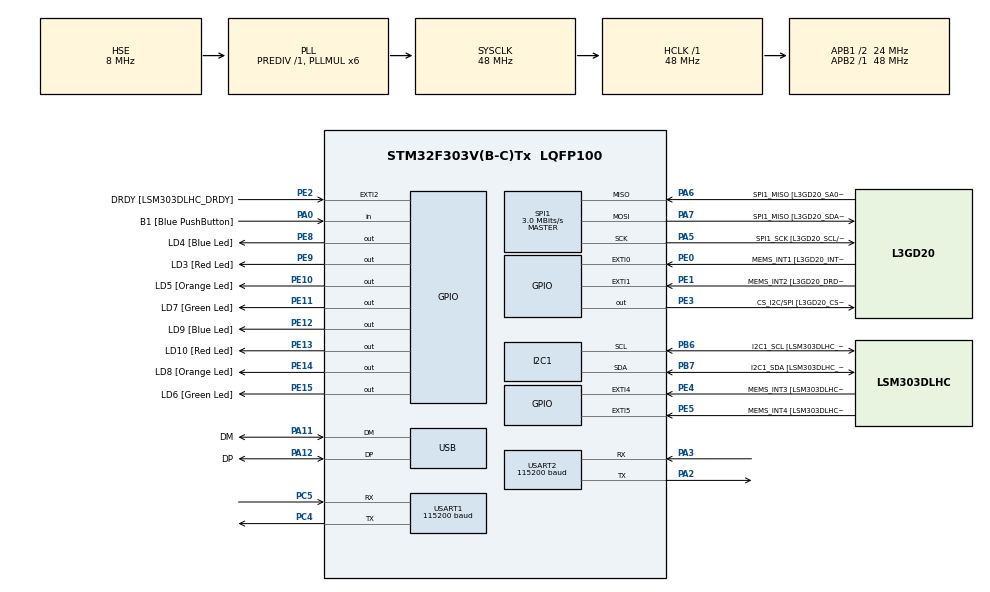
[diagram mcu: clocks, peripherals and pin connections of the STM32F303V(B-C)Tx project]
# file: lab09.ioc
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I2C1.Timing=0x00201D2B
I2C1.Timing-I2C=0x2000090E
Mcu.Family=STM32F3
Mcu.Name=STM32F303V(B-C)Tx
Mcu.Package=LQFP100
NVIC.PriorityGroup=NVIC_PRIORITYGROUP_0
PA0.GPIO_Label=B1 [Blue PushButton]
PA0.Signal=GPIO_Input
PA11.GPIO_Label=DM
PA11.Mode=Device
PA11.Signal=USB_DM
PA12.GPIO_Label=DP
PA12.Mode=Device
PA12.Signal=USB_DP
PA13.GPIO_Label=SWDIO
PA13.Mode=Serial_Wire
PA13.Signal=SYS_JTMS-SWDIO
PA14.GPIO_Label=SWCLK
PA14.Mode=Serial_Wire
PA14.Signal=SYS_JTCK-SWCLK
PA2.Mode=Asynchronous
PA2.Signal=USART2_TX
PA3.Mode=Asynchronous
PA3.Signal=USART2_RX
PA5.GPIO_Label=SPI1_SCK [L3GD20_SCL/SPC]
PA5.Mode=Full_Duplex_Master
PA5.Signal=SPI1_SCK
PA6.GPIO_Label=SPI1_MISO [L3GD20_SA0/SDO]
PA6.Mode=Full_Duplex_Master
PA6.Signal=SPI1_MISO
PA7.GPIO_Label=SPI1_MISO [L3GD20_SDA/SDI/SDO]
PA7.Mode=Full_Duplex_Master
PA7.Signal=SPI1_MOSI
PB3.GPIO_Label=SWO
PB3.Signal=SYS_JTDO-TRACESWO
PB6.GPIO_Label=I2C1_SCL [LSM303DLHC_SCL]
PB6.GPIO_Pu=GPIO_PULLUP
PB6.Mode=I2C
PB6.Signal=I2C1_SCL
PB7.GPIO_Label=I2C1_SDA [LSM303DLHC_SDA]
PB7.GPIO_Pu=GPIO_PULLUP
PB7.Mode=I2C
PB7.Signal=I2C1_SDA
PC14-OSC32_IN.GPIO_Label=OSC32_IN
PC14-OSC32_IN.Signal=RCC_OSC32_IN
PC15-OSC32_OUT.GPIO_Label=OSC32_OUT
PC15-OSC32_OUT.Signal=RCC_OSC32_OUT
PC4.Mode=Asynchronous
PC4.Signal=USART1_TX
PC5.Mode=Asynchronous
PC5.Signal=USART1_RX
PE0.GPIO_Label=MEMS_INT1 [L3GD20_INT1]
PE0.GPIO_ModeDefaultEXTI=GPIO_MODE_EVT_RISING
PE0.Signal=GPXTI0
PE1.GPIO_Label=MEMS_INT2 [L3GD20_DRDY/INT2]
PE1.GPIO_ModeDefaultEXTI=GPIO_MODE_EVT_RISING
PE1.Signal=GPXTI1
PE10.GPIO_Label=LD5 [Orange Led]
PE10.Signal=GPIO_Output
PE11.GPIO_Label=LD7 [Green Led]
PE11.Signal=GPIO_Output
PE12.GPIO_Label=LD9 [Blue Led]
PE12.Signal=GPIO_Output
PE13.GPIO_Label=LD10 [Red Led]
PE13.Signal=GPIO_Output
PE14.GPIO_Label=LD8 [Orange Led]
PE14.Signal=GPIO_Output
PE15.GPIO_Label=LD6 [Green Led]
PE15.Signal=GPIO_Output
PE2.GPIO_Label=DRDY [LSM303DLHC_DRDY]
PE2.GPIO_ModeDefaultEXTI=GPIO_MODE_EVT_RISING
PE2.Signal=GPXTI2
PE3.GPIO_Label=CS_I2C/SPI [L3GD20_CS_I2C/SPI]
PE3.Signal=GPIO_Output
PE4.GPIO_Label=MEMS_INT3 [LSM303DLHC_INT1]
PE4.GPIO_ModeDefaultEXTI=GPIO_MODE_EVT_RISING
PE4.Signal=GPXTI4
PE5.GPIO_Label=MEMS_INT4 [LSM303DLHC_INT2]
PE5.GPIO_ModeDefaultEXTI=GPIO_MODE_EVT_RISING
PE5.Signal=GPXTI5
PE8.GPIO_Label=LD4 [Blue Led]
PE8.Signal=GPIO_Output
PE9.GPIO_Label=LD3 [Red Led]
PE9.Signal=GPIO_Output
PF0-OSC_IN.GPIO_Label=OSC_IN
PF0-OSC_IN.Mode=HSE-External-Clock-Source
PF0-OSC_IN.Signal=RCC_OSC_IN
PF1-OSC_OUT.GPIO_Label=OSC_OUT
PF1-OSC_OUT.Signal=RCC_OSC_OUT
ProjectManager.HeapSize=0x200
ProjectManager.StackSize=0x400
ProjectManager.TargetToolchain=CMake
RCC.AHBFreq_Value=48000000
RCC.APB1CLKDivider=RCC_HCLK_DIV2
RCC.APB1Freq_Value=24000000
RCC.APB1TimFreq_Value=48000000
RCC.APB2Freq_Value=48000000
RCC.APB2TimFreq_Value=48000000
RCC.CortexFreq_Value=48000000
RCC.HCLKFreq_Value=48000000
RCC.HSE_VALUE=8000000
RCC.HSI_VALUE=8000000
RCC.LSE_VALUE=32768
RCC.PLLMUL=RCC_PLL_MUL6
RCC.SYSCLKFreq_VALUE=48000000
RCC.SYSCLKSourceVirtual=RCC_SYSCLKSOURCE_PLLCLK
RCC.USBFreq_Value=48000000
SPI1.BaudRatePrescaler=SPI_BAUDRATEPRESCALER_16
SPI1.BaudRatePrescaler-Full_Duplex_Master=SPI_BAUDRATEPRESCALER_2
SPI1.CLKPhase=SPI_PHASE_2EDGE
SPI1.CLKPolarity=SPI_POLARITY_HIGH
SPI1.CalculateBaudRate=3.0 MBits/s
SPI1.CalculateBaudRate-Full_Duplex_Master=24.0 MBits/s
SPI1.DataSize=SPI_DATASIZE_8BIT
SPI1.Direction=SPI_DIRECTION_2LINES
SPI1.Mode=SPI_MODE_MASTER
SPI1.Mode-Full_Duplex_Master=SPI_MODE_MASTER
SPI1.VirtualType=VM_MASTER
USART1.BaudRate=115200
USART1.VirtualMode-Asynchronous=VM_ASYNC
USART2.BaudRate=115200
USART2.VirtualMode-Asynchronous=VM_ASYNC
board=STM32F3DISCOVERY

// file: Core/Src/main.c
/* USER CODE BEGIN Header */
/**
  ******************************************************************************
  * @file           : main.c
  * @brief          : Main program body
  ******************************************************************************
  * @attention
  *
  * Copyright (c) 2026 STMicroelectronics.
  * All rights reserved.
  *
  * This software is licensed under terms that can be found in the LICENSE file
  * in the root directory of this software component.
  * If no LICENSE file comes with this software, it is provided AS-IS.
  *
  ******************************************************************************
  */
/* USER CODE END Header */
#include "main.h"
#include "stm32f3xx_hal_i2c.h"
#include "stm32f3xx_hal_uart.h"
#include <stdint.h>
#include <sys/types.h>
#include "stdarg.h"
#include "stdio.h"
#include "stm32f3xx_hal.h"
#include "stm32f3xx_hal_spi.h"
#include "string.h"
#include "math.h"
#include <stdint.h>

I2C_HandleTypeDef hi2c1;

SPI_HandleTypeDef hspi1;

UART_HandleTypeDef huart1;
UART_HandleTypeDef huart2;

PCD_HandleTypeDef hpcd_USB_FS;

void SystemClock_Config(void);
static void MX_GPIO_Init(void);
static void MX_I2C1_Init(void);
static void MX_SPI1_Init(void);
static void MX_USART1_UART_Init(void);
static void MX_USART2_UART_Init(void);
static void MX_USB_PCD_Init(void);

/* USER CODE BEGIN 0 */
u_int8_t dev_addr = 0x33;
uint16_t mem_addr = 0x0f;
u_int8_t output;

void myPrintf(const char *fmt, ...);
void Init_LSM();
void Offset_LSM();
void Read_LSM();
void Print_LSM();
void gyro_init ();
void gyro_set_ctrl_reg4 ();
void spi_write(uint8_t reg, uint8_t value);
uint8_t spi_read(uint8_t reg);
void gyro_calibrate();
void Read_Gyro();

#define CTRL_REG1_A 0x20
#define CTRL_REG1_A_VAL 0x67
#define CTRL_REG4_A 0x23
#define CTRL_REG4_A_VAL 0x00

// Accelerometer output registers
#define OUT_X_L_A 0x28
#define OUT_X_H_A 0x29
#define OUT_Y_L_A 0x2A
#define OUT_Y_H_A 0x2B
#define OUT_Z_L_A 0x2C
#define OUT_Z_H_A 0x2D

// Gyroscope output registers
#define GYRO_OUT_X_L 0x28
#define GYRO_OUT_X_H 0x29
#define GYRO_OUT_Y_L 0x2A
#define GYRO_OUT_Y_H 0x2B
#define GYRO_OUT_Z_L 0x2C
#define GYRO_OUT_Z_H 0x2D

#define RAD_TO_DEG 57.2958
#define CTRL_REG1 0x20
#define CTRL_REG1_VAL 0b10001111 // Power on , enable X, Y, Z axes
#define CTRL_REG4 0x23
#define CTRL_REG4_VAL 0b00000000 // FS [1:0] = 00 => +/- 245 dps
#define CS_LOW()  HAL_GPIO_WritePin(GPIOE, GPIO_PIN_3, GPIO_PIN_RESET)
#define CS_HIGH() HAL_GPIO_WritePin(GPIOE, GPIO_PIN_3, GPIO_PIN_SET)

typedef struct
{
  // Raw accelerometer values (16-bit signed)
  int16_t acc_raw_x;
  int16_t acc_raw_y;
  int16_t acc_raw_z;

  // Scaled accelerometer values (g units)
  float acc_x;
  float acc_y;
  float acc_z;

  // Angle estimation (degrees)
  float angle_x;
  float angle_y;

  // Offset values (calculated during calibration)
  int16_t acc_offset_x;
  int16_t acc_offset_y;
  int16_t acc_offset_z;

  // Gyroscope Values
  int16_t gyro_x;
  int16_t gyro_y;
  int16_t gyro_z;

  float gyro_x_dps;
  float gyro_y_dps;
  float gyro_z_dps;

  int16_t gyro_offset_x;
  int16_t gyro_offset_y;
  int16_t gyro_offset_z;

} LSM_Data_t;

LSM_Data_t lsm;

/* USER CODE END 0 */

int main(void)
{

  /* MCU Configuration--------------------------------------------------------*/

  /* Reset of all peripherals, Initializes the Flash interface and the Systick. */

  HAL_Init();

  /* Configure the system clock */
  SystemClock_Config();

  /* Initialize all configured peripherals */
  MX_GPIO_Init();
  MX_I2C1_Init();
  MX_SPI1_Init();
  MX_USART1_UART_Init();
  MX_USART2_UART_Init();
  MX_USB_PCD_Init();
  /* USER CODE BEGIN 2 */

  Init_LSM();
  gyro_init();
  lsm.acc_offset_x = 0;
  lsm.acc_offset_y = 0;
  lsm.acc_offset_z = 0;
  lsm.gyro_offset_x = 0;
  lsm.gyro_offset_y = 0;
  lsm.gyro_offset_z = 0;
  float tilt_angle_x = 0;
  float tilt_angle_y = 0;
  //float tilt_angle_z = 0;
  float dt = 0.1; // Assuming a loop delay of 100ms (0.1 seconds)
  HAL_Delay(100);
  Offset_LSM();
  gyro_set_ctrl_reg4();
  HAL_Delay(100);
  gyro_calibrate();
  /* USER CODE END 2 */

  /* Infinite loop */
  /* USER CODE BEGIN WHILE */
  while (1)
  {
    Read_LSM();
    Read_Gyro();

    tilt_angle_x = 0.98 * (tilt_angle_x + lsm.gyro_x_dps * dt) + 0.02 * -lsm.angle_x;
    //tilt_angle_y = 0.98 * (tilt_angle_y + lsm.gyro_y_dps * dt) + 0.02 * lsm.angle_y;

    //myPrintf("Tilt Angle X: %f, Gyro X: %f, Gyro Y: %f\r\n", tilt_angle_x, lsm.gyro_x_dps, lsm.gyro_y_dps);
    myPrintf("Angle_x: %f \r\n", lsm.angle_x);
    HAL_Delay(10);
    /* USER CODE END WHILE */

  }
}

void SystemClock_Config(void)
{
  RCC_OscInitTypeDef RCC_OscInitStruct = {0};
  RCC_ClkInitTypeDef RCC_ClkInitStruct = {0};
  RCC_PeriphCLKInitTypeDef PeriphClkInit = {0};

  /** Initializes the RCC Oscillators according to the specified parameters
  * in the RCC_OscInitTypeDef structure.
  */
  RCC_OscInitStruct.OscillatorType = RCC_OSCILLATORTYPE_HSI|RCC_OSCILLATORTYPE_HSE;
  RCC_OscInitStruct.HSEState = RCC_HSE_BYPASS;
  RCC_OscInitStruct.HSEPredivValue = RCC_HSE_PREDIV_DIV1;
  RCC_OscInitStruct.HSIState = RCC_HSI_ON;
  RCC_OscInitStruct.HSICalibrationValue = RCC_HSICALIBRATION_DEFAULT;
  RCC_OscInitStruct.PLL.PLLState = RCC_PLL_ON;
  RCC_OscInitStruct.PLL.PLLSource = RCC_PLLSOURCE_HSE;
  RCC_OscInitStruct.PLL.PLLMUL = RCC_PLL_MUL6;
  if (HAL_RCC_OscConfig(&RCC_OscInitStruct) != HAL_OK)
  {
    Error_Handler();
  }

  /** Initializes the CPU, AHB and APB buses clocks
  */
  RCC_ClkInitStruct.ClockType = RCC_CLOCKTYPE_HCLK|RCC_CLOCKTYPE_SYSCLK
                              |RCC_CLOCKTYPE_PCLK1|RCC_CLOCKTYPE_PCLK2;
  RCC_ClkInitStruct.SYSCLKSource = RCC_SYSCLKSOURCE_PLLCLK;
  RCC_ClkInitStruct.AHBCLKDivider = RCC_SYSCLK_DIV1;
  RCC_ClkInitStruct.APB1CLKDivider = RCC_HCLK_DIV2;
  RCC_ClkInitStruct.APB2CLKDivider = RCC_HCLK_DIV1;

  if (HAL_RCC_ClockConfig(&RCC_ClkInitStruct, FLASH_LATENCY_1) != HAL_OK)
  {
    Error_Handler();
  }
  PeriphClkInit.PeriphClockSelection = RCC_PERIPHCLK_USB|RCC_PERIPHCLK_USART1
                              |RCC_PERIPHCLK_USART2|RCC_PERIPHCLK_I2C1;
  PeriphClkInit.Usart1ClockSelection = RCC_USART1CLKSOURCE_PCLK2;
  PeriphClkInit.Usart2ClockSelection = RCC_USART2CLKSOURCE_PCLK1;
  PeriphClkInit.I2c1ClockSelection = RCC_I2C1CLKSOURCE_HSI;
  PeriphClkInit.USBClockSelection = RCC_USBCLKSOURCE_PLL;
  if (HAL_RCCEx_PeriphCLKConfig(&PeriphClkInit) != HAL_OK)
  {
    Error_Handler();
  }
}

static void MX_I2C1_Init(void)
{

  hi2c1.Instance = I2C1;
  hi2c1.Init.Timing = 0x00201D2B;
  hi2c1.Init.OwnAddress1 = 0;
  hi2c1.Init.AddressingMode = I2C_ADDRESSINGMODE_7BIT;
  hi2c1.Init.DualAddressMode = I2C_DUALADDRESS_DISABLE;
  hi2c1.Init.OwnAddress2 = 0;
  hi2c1.Init.OwnAddress2Masks = I2C_OA2_NOMASK;
  hi2c1.Init.GeneralCallMode = I2C_GENERALCALL_DISABLE;
  hi2c1.Init.NoStretchMode = I2C_NOSTRETCH_DISABLE;
  if (HAL_I2C_Init(&hi2c1) != HAL_OK)
  {
    Error_Handler();
  }

  /** Configure Analogue filter
  */
  if (HAL_I2CEx_ConfigAnalogFilter(&hi2c1, I2C_ANALOGFILTER_ENABLE) != HAL_OK)
  {
    Error_Handler();
  }

  /** Configure Digital filter
  */
  if (HAL_I2CEx_ConfigDigitalFilter(&hi2c1, 0) != HAL_OK)
  {
    Error_Handler();
  }

}

static void MX_SPI1_Init(void)
{

  /* SPI1 parameter configuration*/
  hspi1.Instance = SPI1;
  hspi1.Init.Mode = SPI_MODE_MASTER;
  hspi1.Init.Direction = SPI_DIRECTION_2LINES;
  hspi1.Init.DataSize = SPI_DATASIZE_8BIT;
  hspi1.Init.CLKPolarity = SPI_POLARITY_HIGH;
  hspi1.Init.CLKPhase = SPI_PHASE_2EDGE;
  hspi1.Init.NSS = SPI_NSS_SOFT;
  hspi1.Init.BaudRatePrescaler = SPI_BAUDRATEPRESCALER_16;
  hspi1.Init.FirstBit = SPI_FIRSTBIT_MSB;
  hspi1.Init.TIMode = SPI_TIMODE_DISABLE;
  hspi1.Init.CRCCalculation = SPI_CRCCALCULATION_DISABLE;
  hspi1.Init.CRCPolynomial = 7;
  hspi1.Init.CRCLength = SPI_CRC_LENGTH_DATASIZE;
  hspi1.Init.NSSPMode = SPI_NSS_PULSE_DISABLE;
  if (HAL_SPI_Init(&hspi1) != HAL_OK)
  {
    Error_Handler();
  }

}

static void MX_USART1_UART_Init(void)
{

  huart1.Instance = USART1;
  huart1.Init.BaudRate = 115200;
  huart1.Init.WordLength = UART_WORDLENGTH_8B;
  huart1.Init.StopBits = UART_STOPBITS_1;
  huart1.Init.Parity = UART_PARITY_NONE;
  huart1.Init.Mode = UART_MODE_TX_RX;
  huart1.Init.HwFlowCtl = UART_HWCONTROL_NONE;
  huart1.Init.OverSampling = UART_OVERSAMPLING_16;
  huart1.Init.OneBitSampling = UART_ONE_BIT_SAMPLE_DISABLE;
  huart1.AdvancedInit.AdvFeatureInit = UART_ADVFEATURE_NO_INIT;
  if (HAL_UART_Init(&huart1) != HAL_OK)
  {
    Error_Handler();
  }

}

static void MX_USART2_UART_Init(void)
{

  huart2.Instance = USART2;
  huart2.Init.BaudRate = 115200;
  huart2.Init.WordLength = UART_WORDLENGTH_8B;
  huart2.Init.StopBits = UART_STOPBITS_1;
  huart2.Init.Parity = UART_PARITY_NONE;
  huart2.Init.Mode = UART_MODE_TX_RX;
  huart2.Init.HwFlowCtl = UART_HWCONTROL_NONE;
  huart2.Init.OverSampling = UART_OVERSAMPLING_16;
  huart2.Init.OneBitSampling = UART_ONE_BIT_SAMPLE_DISABLE;
  huart2.AdvancedInit.AdvFeatureInit = UART_ADVFEATURE_NO_INIT;
  if (HAL_UART_Init(&huart2) != HAL_OK)
  {
    Error_Handler();
  }

}

static void MX_USB_PCD_Init(void)
{

  hpcd_USB_FS.Instance = USB;
  hpcd_USB_FS.Init.dev_endpoints = 8;
  hpcd_USB_FS.Init.speed = PCD_SPEED_FULL;
  hpcd_USB_FS.Init.phy_itface = PCD_PHY_EMBEDDED;
  hpcd_USB_FS.Init.low_power_enable = DISABLE;
  hpcd_USB_FS.Init.battery_charging_enable = DISABLE;
  if (HAL_PCD_Init(&hpcd_USB_FS) != HAL_OK)
  {
    Error_Handler();
  }

}

static void MX_GPIO_Init(void)
{
  GPIO_InitTypeDef GPIO_InitStruct = {0};

  /* GPIO Ports Clock Enable */
  __HAL_RCC_GPIOE_CLK_ENABLE();
  __HAL_RCC_GPIOC_CLK_ENABLE();
  __HAL_RCC_GPIOF_CLK_ENABLE();
  __HAL_RCC_GPIOA_CLK_ENABLE();
  __HAL_RCC_GPIOB_CLK_ENABLE();

  /*Configure GPIO pin Output Level */
  HAL_GPIO_WritePin(GPIOE, CS_I2C_SPI_Pin|LD4_Pin|LD3_Pin|LD5_Pin
                          |LD7_Pin|LD9_Pin|LD10_Pin|LD8_Pin
                          |LD6_Pin, GPIO_PIN_RESET);

  /*Configure GPIO pins : DRDY_Pin MEMS_INT3_Pin MEMS_INT4_Pin MEMS_INT1_Pin
                           MEMS_INT2_Pin */
  GPIO_InitStruct.Pin = DRDY_Pin|MEMS_INT3_Pin|MEMS_INT4_Pin|MEMS_INT1_Pin
                          |MEMS_INT2_Pin;
  GPIO_InitStruct.Mode = GPIO_MODE_EVT_RISING;
  GPIO_InitStruct.Pull = GPIO_NOPULL;
  HAL_GPIO_Init(GPIOE, &GPIO_InitStruct);

  /*Configure GPIO pins : CS_I2C_SPI_Pin LD4_Pin LD3_Pin LD5_Pin
                           LD7_Pin LD9_Pin LD10_Pin LD8_Pin
                           LD6_Pin */
  GPIO_InitStruct.Pin = CS_I2C_SPI_Pin|LD4_Pin|LD3_Pin|LD5_Pin
                          |LD7_Pin|LD9_Pin|LD10_Pin|LD8_Pin
                          |LD6_Pin;
  GPIO_InitStruct.Mode = GPIO_MODE_OUTPUT_PP;
  GPIO_InitStruct.Pull = GPIO_NOPULL;
  GPIO_InitStruct.Speed = GPIO_SPEED_FREQ_LOW;
  HAL_GPIO_Init(GPIOE, &GPIO_InitStruct);

  /*Configure GPIO pin : B1_Pin */
  GPIO_InitStruct.Pin = B1_Pin;
  GPIO_InitStruct.Mode = GPIO_MODE_INPUT;
  GPIO_InitStruct.Pull = GPIO_NOPULL;
  HAL_GPIO_Init(B1_GPIO_Port, &GPIO_InitStruct);

}

/* USER CODE BEGIN 4 */
void myPrintf(const char *fmt, ...)
{
  char buffer[128];
  va_list argument;
  va_start(argument, fmt);
  vsnprintf(buffer, sizeof(buffer), fmt, argument);
  HAL_UART_Transmit(&huart2, (uint8_t*)buffer, strlen(buffer), 100);
}

void Init_LSM(){
uint8_t data1 = 0x67;
uint8_t data2 = 0x00;
HAL_I2C_Mem_Write(&hi2c1, dev_addr, CTRL_REG1_A, 1, &data1, 1, 100);
HAL_I2C_Mem_Write(&hi2c1, dev_addr, CTRL_REG4_A, 1, &data2, 1, 100);
}

void Read_LSM(){
  uint8_t x_low, x_high, y_low, y_high, z_low, z_high;
  HAL_I2C_Mem_Read(&hi2c1, dev_addr, OUT_X_L_A, 1, &x_low, 1, 100);
  HAL_I2C_Mem_Read(&hi2c1, dev_addr, OUT_X_H_A, 1, &x_high, 1, 100);
  lsm.acc_raw_x = (int16_t)(x_high << 8) | x_low ;

  HAL_I2C_Mem_Read(&hi2c1, dev_addr, OUT_Y_L_A, 1, &y_low, 1, 100);
  HAL_I2C_Mem_Read(&hi2c1, dev_addr, OUT_Y_H_A, 1, &y_high, 1, 100);
  lsm.acc_raw_y = (int16_t)(y_high << 8) | y_low;

  HAL_I2C_Mem_Read(&hi2c1, dev_addr, OUT_Z_L_A, 1, &z_low, 1, 100);
  HAL_I2C_Mem_Read(&hi2c1, dev_addr, OUT_Z_H_A, 1, &z_high, 1, 100);
  lsm.acc_raw_z = (int16_t)(z_high << 8) | z_low;

  float acc_x_scaled = lsm.acc_raw_x * 3.9f;
  float acc_y_scaled = lsm.acc_raw_y * 3.9f;
  float acc_z_scaled = lsm.acc_raw_z * 3.9f;

  //dividing by 1000 to convert from mg to g
  lsm.acc_x = (acc_x_scaled - lsm.acc_offset_x) / 1000.0f;
  lsm.acc_y = (acc_y_scaled - lsm.acc_offset_y) / 1000.0f;
  lsm.acc_z = (acc_z_scaled - lsm.acc_offset_z) / 1000.0f;

  //using atan2 to calculate angles in degrees
  lsm.angle_x  = atan2(lsm.acc_x, lsm.acc_z) * RAD_TO_DEG;
  //lsm.angle_y = atan2(-lsm.acc_x, sqrt(lsm.acc_y*lsm.acc_y + lsm.acc_z*lsm.acc_z)) * RAD_TO_DEG;
  lsm.angle_y = atan2(lsm.acc_y, lsm.acc_z) * RAD_TO_DEG;
}

void Print_LSM(){
  // myPrintf(" Accelerometer X: %0.2f, Y: %0.2f, Z: %0.2f Angle X: %0.2f Angle Y: %0.2f \r\n Gyroscope X: %0.2f Y: %0.2f Z: %0.2f\r\n",
  //   lsm.acc_x, lsm.acc_y, lsm.acc_z, lsm.angle_x, lsm.angle_y, lsm.gyro_x_dps, lsm.gyro_y_dps, lsm.gyro_z_dps);

    myPrintf("Accelerometer X: %0.2f, Y: %0.2f, Z: %0.2f Angle X: %0.2f Angle Y: %0.2f \r\n", lsm.acc_x, lsm.acc_y, lsm.acc_z, lsm.angle_x, lsm.angle_y );
}

void Offset_LSM()
{
  uint8_t x_low, x_high, y_low, y_high, z_low, z_high;

  float sum_x = 0.0f;
  float sum_y = 0.0f;
  float sum_z = 0.0f;

  int samples = 200;

  for(int i = 0; i < samples; i++)
  {
      // ---- READ RAW X ----
      HAL_I2C_Mem_Read(&hi2c1, dev_addr, OUT_X_L_A, 1, &x_low, 1, 100);
      HAL_I2C_Mem_Read(&hi2c1, dev_addr, OUT_X_H_A, 1, &x_high, 1, 100);
      int16_t raw_x = (int16_t)(x_high << 8) | x_low;

      // ---- READ RAW Y ----
      HAL_I2C_Mem_Read(&hi2c1, dev_addr, OUT_Y_L_A, 1, &y_low, 1, 100);
      HAL_I2C_Mem_Read(&hi2c1, dev_addr, OUT_Y_H_A, 1, &y_high, 1, 100);
      int16_t raw_y = (int16_t)(y_high << 8) | y_low;

      // ---- READ RAW Z ----
      HAL_I2C_Mem_Read(&hi2c1, dev_addr, OUT_Z_L_A, 1, &z_low, 1, 100);
      HAL_I2C_Mem_Read(&hi2c1, dev_addr, OUT_Z_H_A, 1, &z_high, 1, 100);
      int16_t raw_z = (int16_t)(z_high << 8) | z_low;

      // ---- SCALE TO mg ----
      float scaled_x = raw_x * 3.9f;
      float scaled_y = raw_y * 3.9f;
      float scaled_z = raw_z * 3.9f;

      // ---- ACCUMULATE ----
      sum_x += scaled_x;
      sum_y += scaled_y;
      sum_z += scaled_z;

      HAL_Delay(5);  // small delay for stable readings
  }

  // ---- AVERAGE (FINAL OFFSET) ----
  lsm.acc_offset_x = sum_x / samples - 1000.0f;
  lsm.acc_offset_y = sum_y / samples - 1000.0f;
  lsm.acc_offset_z = sum_z / samples - 1000.0f;
}

void gyro_init ()
{
 uint8_t tx [2] = { CTRL_REG1 , CTRL_REG1_VAL };
 // Pull CS low to begin communication
 HAL_GPIO_WritePin (GPIOE , GPIO_PIN_3 , GPIO_PIN_RESET );

 // Send control register configuration
 HAL_SPI_Transmit (&hspi1 , tx , 2, HAL_MAX_DELAY );

 // Pull CS high to end communication
 HAL_GPIO_WritePin (GPIOE , GPIO_PIN_3 , GPIO_PIN_SET );
}

void gyro_set_ctrl_reg4 ()
{
  uint8_t tx [2] = { CTRL_REG4 , CTRL_REG4_VAL };
  HAL_GPIO_WritePin (GPIOE , GPIO_PIN_3 , GPIO_PIN_RESET );
  HAL_SPI_Transmit (& hspi1 , tx , 2, 100 );
  HAL_GPIO_WritePin (GPIOE , GPIO_PIN_3 , GPIO_PIN_SET );
}

void gyro_calibrate()
{
  int32_t x_sum = 0, y_sum = 0, z_sum = 0;
  const int samples = 200;

  for(int i = 0; i < samples; i++)
  {
    int16_t x = (int16_t)((spi_read(GYRO_OUT_X_H) << 8) | spi_read(GYRO_OUT_X_L));
    int16_t y = (int16_t)((spi_read(GYRO_OUT_Y_H) << 8) | spi_read(GYRO_OUT_Y_L));
    int16_t z = (int16_t)((spi_read(GYRO_OUT_Z_H) << 8) | spi_read(GYRO_OUT_Z_L));

    x_sum += x;
    y_sum += y;
    z_sum += z;

    HAL_Delay(10);
  }

  lsm.gyro_offset_x = x_sum / samples;
  lsm.gyro_offset_y = y_sum / samples;
  lsm.gyro_offset_z = z_sum / samples;
}

uint8_t spi_read(uint8_t reg)
{
    uint8_t tx[2];
    uint8_t rx[2];
    tx[0] = reg | 0x80;  // Read command (MSB = 1)

    tx[1] = 0x00;

    CS_LOW();
    HAL_SPI_TransmitReceive(&hspi1, tx, rx, 2, HAL_MAX_DELAY);
    CS_HIGH();

    return rx[1];
}

void spi_write(uint8_t reg, uint8_t value)
{
    uint8_t data[2] = {reg & 0x7F, value};  // Write command (MSB = 0)
    CS_LOW();
    HAL_SPI_Transmit(&hspi1, data, 2, HAL_MAX_DELAY);
    CS_HIGH();
}

void Read_Gyro()
{
  uint8_t xl, xh, yl, yh, zl, zh;

  // X axis
  xl = spi_read(GYRO_OUT_X_L);
  xh = spi_read(GYRO_OUT_X_H);
  lsm.gyro_x = (int16_t)((xh << 8) | xl) - lsm.gyro_offset_x;

  // Y axis
  yl = spi_read(GYRO_OUT_Y_L);
  yh = spi_read(GYRO_OUT_Y_H);
  lsm.gyro_y = (int16_t)((yh << 8) | yl) - lsm.gyro_offset_y;

  // Z axis
  zl = spi_read(GYRO_OUT_Z_L);
  zh = spi_read(GYRO_OUT_Z_H);
  lsm.gyro_z = (int16_t)((zh << 8) | zl) - lsm.gyro_offset_z;

  lsm.gyro_x_dps = lsm.gyro_x * 0.00875f;
  lsm.gyro_y_dps = lsm.gyro_y * 0.00875f;
  lsm.gyro_z_dps = lsm.gyro_z * 0.00875f;
}

/* USER CODE END 4 */

void Error_Handler(void)
{
  __disable_irq();
  while (1)
  {
  }
}
